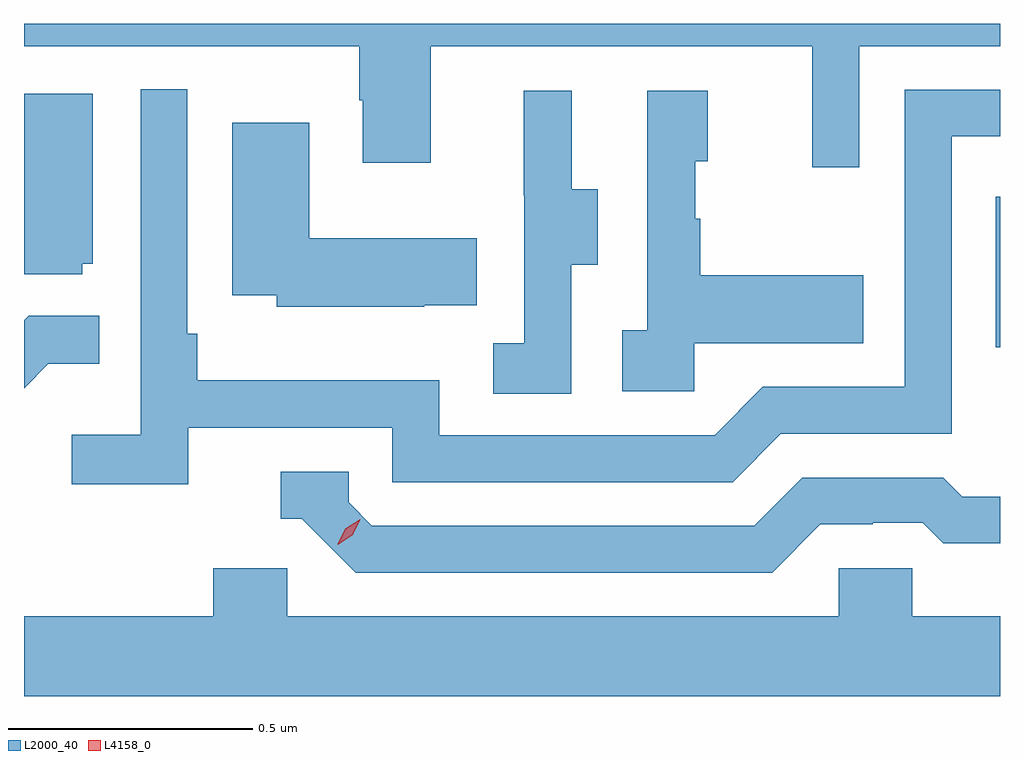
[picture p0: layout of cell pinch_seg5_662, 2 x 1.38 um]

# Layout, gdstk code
import gdstk
lib = gdstk.Library(unit=1e-6, precision=1e-09)
def R(c, l, rs):  # rectangles x0, y0, x1, y1
    for r in rs: c.add(gdstk.rectangle(r[:2], r[2:], *l))
def P(c, l, *ps):  # polygons
    for p in ps: c.add(gdstk.Polygon(p, *l))
L2000_40 = (2000, 40)
L4158_0 = (4158, 0)

pinch_seg5_662 = lib.new_cell('pinch_seg5_662')
R(pinch_seg5_662, L2000_40, [(1070.67,842.823,1070.679,843.132)])
P(pinch_seg5_662, L2000_40, [(1070.391,843.44),(1070.679,843.44),(1070.679,843.486),(1068.679,843.486),(1068.679,843.44),(1069.366,843.44),(1069.366,843.329),(1069.373,843.329),(1069.373,843.201),(1069.513,843.201),(1069.513,843.44),(1070.294,843.44),(1070.294,843.192),(1070.391,843.192)],
  [(1069.016,842.658),(1069.434,842.658),(1069.434,842.547),(1070.131,842.547),(1070.23,842.646),(1070.58,842.646),(1070.58,843.255),(1070.679,843.255),(1070.679,843.351),(1070.484,843.351),(1070.484,842.742),(1070.193,842.742),(1070.094,842.643),(1069.53,842.643),(1069.53,842.755),(1069.034,842.755),(1069.034,842.851),(1069.014,842.851),(1069.014,843.352),(1068.918,843.352),(1068.918,842.644),(1068.777,842.644),(1068.777,842.542),(1069.016,842.542)],
  [(1069.8,842.992),(1069.855,842.992),(1069.855,843.147),(1069.801,843.147),(1069.801,843.349),(1069.703,843.349),(1069.703,843.135),(1069.704,843.135),(1069.704,842.831),(1069.641,842.831),(1069.641,842.728),(1069.8,842.728)],
  [(1070.052,842.831),(1070.399,842.831),(1070.399,842.971),(1070.065,842.971),(1070.065,843.086),(1070.055,843.086),(1070.055,843.204),(1070.08,843.204),(1070.08,843.349),(1069.956,843.349),(1069.956,842.858),(1069.905,842.858),(1069.905,842.733),(1070.052,842.733)],
  [(1068.798,842.994),(1068.82,842.994),(1068.82,843.343),(1068.679,843.343),(1068.679,842.973),(1068.798,842.973)],
  [(1069.499,842.909),(1069.607,842.909),(1069.607,843.046),(1069.264,843.046),(1069.264,843.283),(1069.106,843.283),(1069.106,842.93),(1069.197,842.93),(1069.197,842.906),(1069.499,842.906)],
  [(1068.729,842.789),(1068.833,842.789),(1068.833,842.888),(1068.689,842.888),(1068.679,842.878),(1068.679,842.739)],
  [(1070.311,842.46),(1070.418,842.46),(1070.418,842.463),(1070.521,842.463),(1070.563,842.421),(1070.679,842.421),(1070.679,842.517),(1070.602,842.517),(1070.563,842.556),(1070.274,842.556),(1070.175,842.457),(1069.392,842.457),(1069.344,842.505),(1069.344,842.568),(1069.205,842.568),(1069.205,842.472),(1069.248,842.472),(1069.359,842.361),(1070.212,842.361)],
  [(1070.679,842.272),(1070.499,842.272),(1070.499,842.37),(1070.349,842.37),(1070.349,842.272),(1069.218,842.272),(1069.218,842.37),(1069.067,842.37),(1069.067,842.272),(1068.679,842.272),(1068.679,842.108),(1070.679,842.108)])
P(pinch_seg5_662, L4158_0, [(1069.322,842.418),(1069.322,842.419),(1069.337,842.451),(1069.368,842.471),(1069.368,842.471),(1069.368,842.47),(1069.352,842.438),(1069.322,842.418)])

lib.write_gds('pinch_seg5_662.gds')
